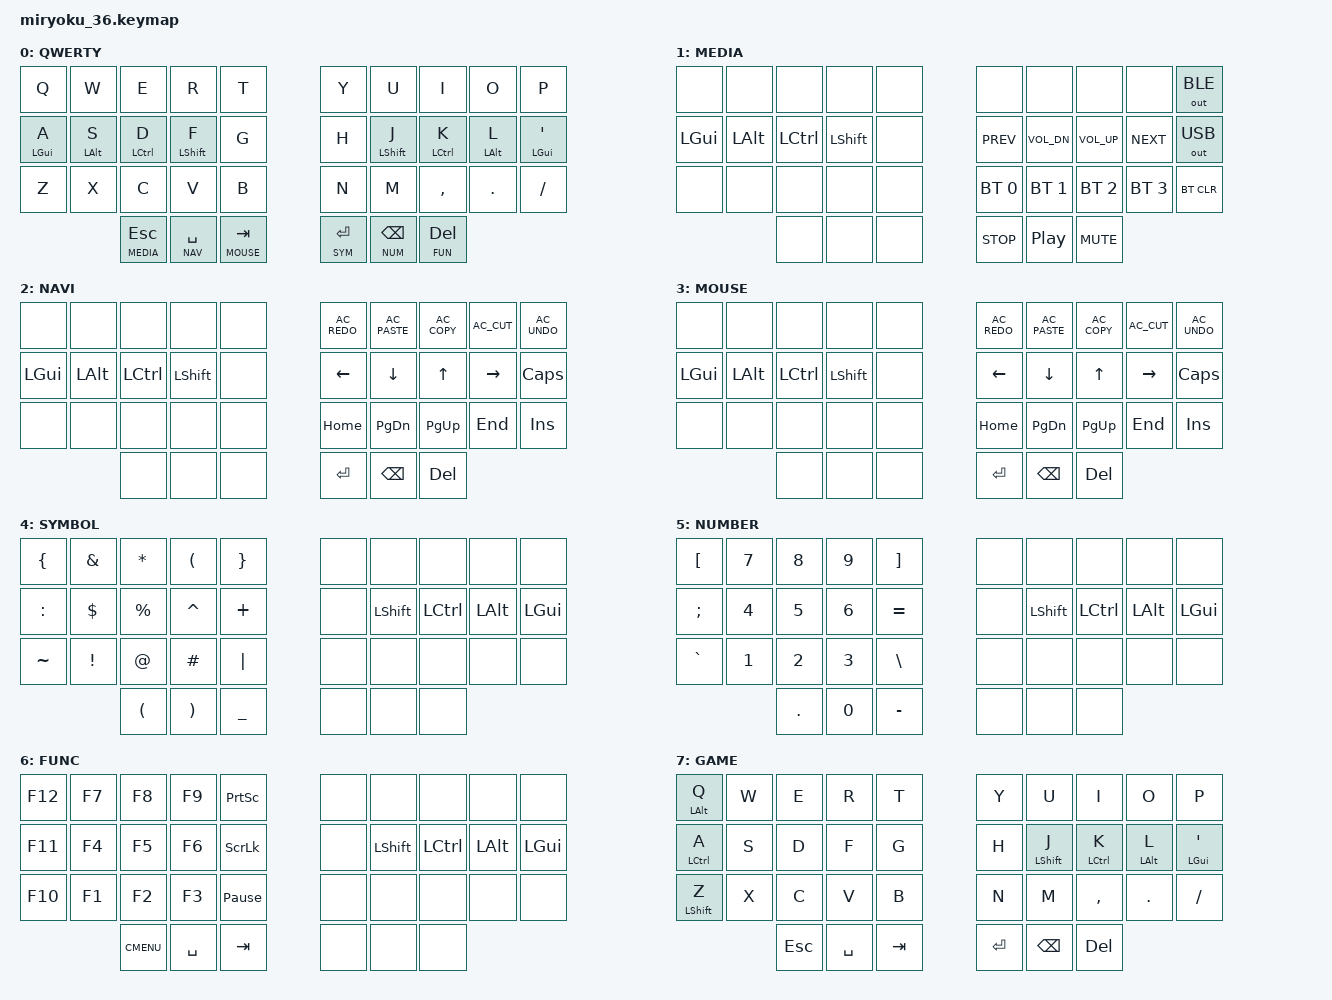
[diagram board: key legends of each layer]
#include "layers.h"

/ {
  keymap {
    compatible = "zmk,keymap";

    default_layer {
      label = "QWERTY";
			bindings = <
// ╭───────────────┬───────────────┬───────────────┬───────────────┬───────────────╮   ╭───────────────┬───────────────┬───────────────┬───────────────┬───────────────╮
	   &kp Q           &kp W           &kp E           &kp R           &kp T               &kp Y           &kp U           &kp I           &kp O           &kp P
// ├───────────────┼───────────────┼───────────────┼───────────────┼───────────────┤   ├───────────────┼───────────────┼───────────────┼───────────────┼───────────────┤
     &hm LGUI A      &hm LALT S      &hm LCTRL D     &hm LSHFT F     &kp G               &kp H           &hm LSHFT J     &hm LCTRL K     &hm LALT L      &hm LGUI SQT
// ├───────────────┼───────────────┼───────────────┼───────────────┼───────────────┤   ├───────────────┼───────────────┼───────────────┼───────────────┼───────────────┤
	   &kp Z           &kp X           &kp C           &kp V           &kp B               &kp N           &kp M           &kp COMMA       &kp DOT         &kp FSLH
// ╰───────────────┴───────────────┴───────────────┼───────────────┼───────────────┤   ├───────────────┼───────────────┼───────────────┴───────────────┴───────────────╯
	                                   &lt MEDIA ESC   &lt NAV SPC     &lt MOUSE TAB       &lt SYM RET     &lt NUM BSPC    &lt FUN DEL
//                                 ╰───────────────┴───────────────┴───────────────╯   ╰───────────────┴───────────────┴───────────────╯
>;
    };

    media_layer {
      label = "MEDIA";
			bindings = <
// ╭───────────────┬───────────────┬───────────────┬───────────────┬───────────────╮   ╭───────────────┬───────────────┬───────────────┬───────────────┬───────────────╮
     &none           &none           &none           &none           &none               &none           &none           &none           &none           &out OUT_BLE
// ├───────────────┼───────────────┼───────────────┼───────────────┼───────────────┤   ├───────────────┼───────────────┼───────────────┼───────────────┼───────────────┤
	   &kp LGUI        &kp LALT        &kp LCTRL       &kp LSHIFT      &none               &kp C_PREV      &kp C_VOL_DN    &kp C_VOL_UP    &kp C_NEXT      &out OUT_USB
// ├───────────────┼───────────────┼───────────────┼───────────────┼───────────────┤   ├───────────────┼───────────────┼───────────────┼───────────────┼───────────────┤
	   &none           &none           &none           &none           &none               &bt BT_SEL 0    &bt BT_SEL 1    &bt BT_SEL 2    &bt BT_SEL 3    &bt BT_CLR
// ╰───────────────┴───────────────┴───────────────┼───────────────┼───────────────┤   ├───────────────┼───────────────┼───────────────┴───────────────┴───────────────╯
	                                   &none           &none           &none               &kp C_STOP      &kp C_PP        &kp C_MUTE
//                                 ╰───────────────┴───────────────┴───────────────╯   ╰───────────────┴───────────────┴───────────────╯
>;
    };

    nav_layer {
      label = "NAVI";
			bindings = <
// ╭───────────────┬───────────────┬───────────────┬───────────────┬───────────────╮   ╭───────────────┬───────────────┬───────────────┬───────────────┬───────────────╮
	   &none           &none           &none           &none           &none               &kp C_AC_REDO   &kp C_AC_PASTE  &kp C_AC_COPY   &kp C_AC_CUT    &kp C_AC_UNDO
// ├───────────────┼───────────────┼───────────────┼───────────────┼───────────────┤   ├───────────────┼───────────────┼───────────────┼───────────────┼───────────────┤
	   &kp LGUI        &kp LALT        &kp LCTRL       &kp LSHIFT      &none               &kp LEFT        &kp DOWN        &kp UP          &kp RIGHT       &kp CAPSLOCK
// ├───────────────┼───────────────┼───────────────┼───────────────┼───────────────┤   ├───────────────┼───────────────┼───────────────┼───────────────┼───────────────┤
	   &none           &none           &none           &none           &none               &kp HOME        &kp PG_DN       &kp PG_UP       &kp END         &kp INSERT
// ╰───────────────┴───────────────┴───────────────┼───────────────┼───────────────┤   ├───────────────┼───────────────┼───────────────┴───────────────┴───────────────╯
	                                   &none           &none           &none               &kp RET         &kp BSPC        &kp DEL
//                                 ╰───────────────┴───────────────┴───────────────╯   ╰───────────────┴───────────────┴───────────────╯
>;
    };

    /* This needs to be implemented when mouse keys hits ZMK's main branch */
		mouse_layer {
      label = "MOUSE";
			bindings = <
// ╭───────────────┬───────────────┬───────────────┬───────────────┬───────────────╮   ╭───────────────┬───────────────┬───────────────┬───────────────┬───────────────╮
	   &none           &none           &none           &none           &none               &kp C_AC_REDO   &kp C_AC_PASTE  &kp C_AC_COPY   &kp C_AC_CUT    &kp C_AC_UNDO
// ├───────────────┼───────────────┼───────────────┼───────────────┼───────────────┤   ├───────────────┼───────────────┼───────────────┼───────────────┼───────────────┤
	   &kp LGUI        &kp LALT        &kp LCTRL       &kp LSHIFT      &none               &kp LEFT        &kp DOWN        &kp UP          &kp RIGHT       &kp CAPSLOCK
// ├───────────────┼───────────────┼───────────────┼───────────────┼───────────────┤   ├───────────────┼───────────────┼───────────────┼───────────────┼───────────────┤
	   &none           &none           &none           &none           &none               &kp HOME        &kp PG_DN       &kp PG_UP       &kp END         &kp INSERT
// ╰───────────────┴───────────────┴───────────────┼───────────────┼───────────────┤   ├───────────────┼───────────────┼───────────────┴───────────────┴───────────────╯
	                                   &none           &none           &none               &kp RET         &kp BSPC        &kp DEL
//                                 ╰───────────────┴───────────────┴───────────────╯   ╰───────────────┴───────────────┴───────────────╯
>;
		};

		sym_layer {
      label = "SYMBOL";
			bindings = <
// ╭───────────────┬───────────────┬───────────────┬───────────────┬───────────────╮   ╭───────────────┬───────────────┬───────────────┬───────────────┬───────────────╮
	   &kp LBRC        &kp AMPS        &kp STAR        &kp LPAR        &kp RBRC            &none           &none           &none           &none           &none
// ├───────────────┼───────────────┼───────────────┼───────────────┼───────────────┤   ├───────────────┼───────────────┼───────────────┼───────────────┼───────────────┤
	   &kp COLON       &kp DLLR        &kp PRCNT       &kp CARET       &kp PLUS            &none           &kp LSHIFT      &kp LCTRL       &kp LALT        &kp LGUI
// ├───────────────┼───────────────┼───────────────┼───────────────┼───────────────┤   ├───────────────┼───────────────┼───────────────┼───────────────┼───────────────┤
	   &kp TILDE       &kp EXCL        &kp AT          &kp POUND       &kp PIPE            &none           &none           &none           &none           &none
// ╰───────────────┴───────────────┴───────────────┼───────────────┼───────────────┤   ├───────────────┼───────────────┼───────────────┴───────────────┴───────────────╯
      	                             &kp LPAR        &kp RPAR        &kp UNDER           &none           &none           &none
//                                 ╰───────────────┴───────────────┴───────────────╯   ╰───────────────┴───────────────┴───────────────╯
>;
		};

		num_layer {
      label = "NUMBER";
			bindings = <
// ╭───────────────┬───────────────┬───────────────┬───────────────┬───────────────╮   ╭───────────────┬───────────────┬───────────────┬───────────────┬───────────────╮
	   &kp LBKT        &kp N7          &kp N8          &kp N9          &kp RBKT            &none           &none           &none           &none           &none
// ├───────────────┼───────────────┼───────────────┼───────────────┼───────────────┤   ├───────────────┼───────────────┼───────────────┼───────────────┼───────────────┤
	   &kp SEMI        &kp N4          &kp N5          &kp N6          &kp EQUAL           &none           &kp LSHIFT      &kp LCTRL       &kp LALT        &kp LGUI
// ├───────────────┼───────────────┼───────────────┼───────────────┼───────────────┤   ├───────────────┼───────────────┼───────────────┼───────────────┼───────────────┤
	   &kp GRAVE       &kp N1          &kp N2          &kp N3          &kp BSLH            &none           &none           &none           &none           &none
// ╰───────────────┴───────────────┴───────────────┼───────────────┼───────────────┤   ├───────────────┼───────────────┼───────────────┴───────────────┴───────────────╯
	                                   &kp DOT         &kp N0          &kp MINUS           &none           &none           &none
//                                 ╰───────────────┴───────────────┴───────────────╯   ╰───────────────┴───────────────┴───────────────╯
>;
		};

		fun_layer {
      label = "FUNC";
			bindings = <
// ╭───────────────┬───────────────┬───────────────┬───────────────┬───────────────╮   ╭───────────────┬───────────────┬───────────────┬───────────────┬───────────────╮
	   &kp F12         &kp F7          &kp F8          &kp F9          &kp PSCRN           &none           &none           &none          &none            &none
// ├───────────────┼───────────────┼───────────────┼───────────────┼───────────────┤   ├───────────────┼───────────────┼───────────────┼───────────────┼───────────────┤
   	 &kp F11         &kp F4          &kp F5          &kp F6          &kp SLCK            &none           &kp LSHIFT      &kp LCTRL       &kp LALT        &kp LGUI
// ├───────────────┼───────────────┼───────────────┼───────────────┼───────────────┤   ├───────────────┼───────────────┼───────────────┼───────────────┼───────────────┤
   	 &kp F10         &kp F1          &kp F2          &kp F3          &kp PAUSE_BREAK     &none           &none           &none          &none            &none
// ╰───────────────┴───────────────┴───────────────┼───────────────┼───────────────┤   ├───────────────┼───────────────┼───────────────┴───────────────┴───────────────╯
	                                   &kp K_CMENU     &kp SPC         &kp TAB             &none           &none           &none
//                                 ╰───────────────┴───────────────┴───────────────╯   ╰───────────────┴───────────────┴───────────────╯
>;
		};

    game_layer {
      label = "GAME";
			bindings = <
// ╭───────────────┬───────────────┬───────────────┬───────────────┬───────────────╮   ╭───────────────┬───────────────┬───────────────┬───────────────┬───────────────╮
	   &hm LALT Q      &kp W           &kp E           &kp R           &kp T               &kp Y           &kp U           &kp I           &kp O           &kp P
// ├───────────────┼───────────────┼───────────────┼───────────────┼───────────────┤   ├───────────────┼───────────────┼───────────────┼───────────────┼───────────────┤
     &hm LCTRL A     &kp S           &kp D           &kp F           &kp G               &kp H           &hm LSHFT J     &hm LCTRL K     &hm LALT L      &hm LGUI SQT
// ├───────────────┼───────────────┼───────────────┼───────────────┼───────────────┤   ├───────────────┼───────────────┼───────────────┼───────────────┼───────────────┤
	   &hm LSHFT Z     &kp X           &kp C           &kp V           &kp B               &kp N           &kp M           &kp COMMA       &kp DOT         &kp FSLH
// ╰───────────────┴───────────────┴───────────────┼───────────────┼───────────────┤   ├───────────────┼───────────────┼───────────────┴───────────────┴───────────────╯
	                                   &kp ESC         &kp SPC         &kp TAB             &kp RET         &kp BSPC        &kp DEL
//                                 ╰───────────────┴───────────────┴───────────────╯   ╰───────────────┴───────────────┴───────────────╯
>;
    };
  };
};
